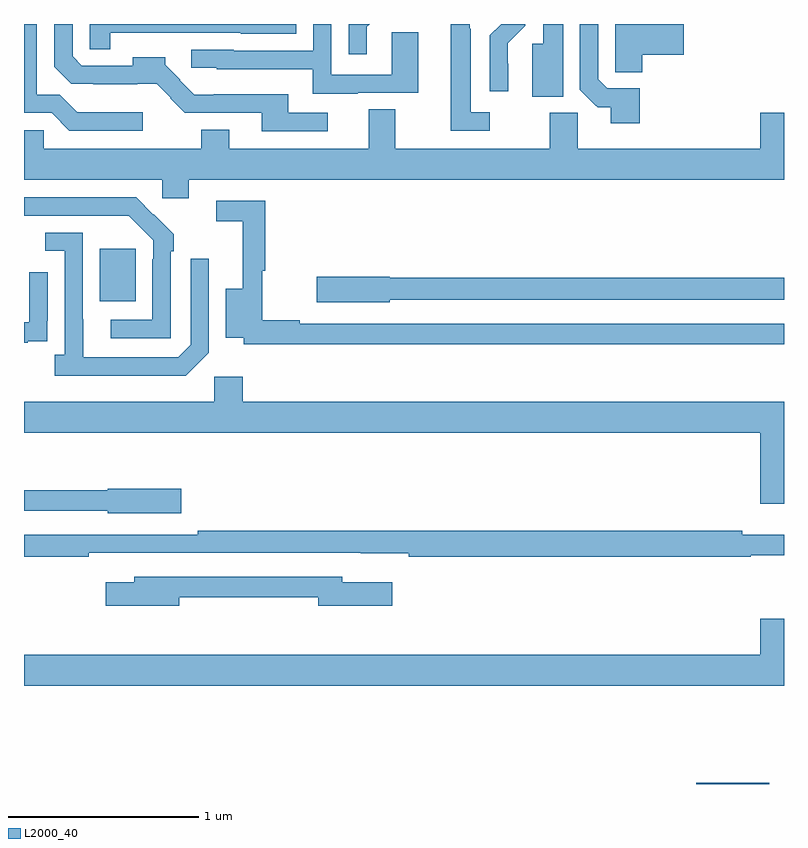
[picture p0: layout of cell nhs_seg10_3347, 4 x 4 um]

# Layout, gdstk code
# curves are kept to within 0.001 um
import gdstk
lib = gdstk.Library(unit=1e-6, precision=1e-09)
def R(c, l, rs):  # rectangles x0, y0, x1, y1
    for r in rs: c.add(gdstk.rectangle(r[:2], r[2:], *l))
def P(c, l, *ps):  # polygons
    for p in ps: c.add(gdstk.Polygon(p, *l))
L2000_40 = (2000, 40)

nhs_seg10_3347 = lib.new_cell('nhs_seg10_3347')
R(nhs_seg10_3347, L2000_40, [(296.538,1266.5,296.922,1266.506), (293.399,1269.041,293.587,1269.316)])
P(nhs_seg10_3347, L2000_40, [(295.837,1270.5),(295.733,1270.5),(295.733,1270.395),(295.676,1270.395),(295.676,1270.117),(295.837,1270.117)],
  [(296.255,1270.337),(296.473,1270.337),(296.473,1270.5),(296.111,1270.5),(296.111,1270.354),(296.112,1270.354),(296.112,1270.246),(296.255,1270.246)],
  [(295.45,1270.035),(295.351,1270.035),(295.351,1270.475),(295.347,1270.475),(295.347,1270.5),(295.247,1270.5),(295.247,1269.939),(295.45,1269.939)],
  [(294.805,1270.485),(294.82,1270.5),(294.708,1270.5),(294.708,1270.341),(294.805,1270.341)],
  [(293.626,1270.036),(293.279,1270.036),(293.188,1270.127),(293.067,1270.127),(293.067,1270.5),(293,1270.5),(293,1270.032),(293.145,1270.032),(293.238,1269.939),(293.626,1269.939)],
  [(294.757,1270.137),(295.075,1270.137),(295.075,1270.457),(294.936,1270.457),(294.936,1270.233),(294.618,1270.233),(294.618,1270.5),(294.522,1270.5),(294.522,1270.359),(294.105,1270.359),(294.105,1270.365),(293.88,1270.365),(293.88,1270.269),(294.015,1270.269),(294.015,1270.262),(294.521,1270.262),(294.521,1270.133),(294.757,1270.133)],
  [(293.455,1270.454),(293.709,1270.454),(293.709,1270.455),(294.141,1270.455),(294.141,1270.448),(294.432,1270.448),(294.432,1270.5),(293.346,1270.5),(293.346,1270.366),(293.455,1270.366)],
  [(294.598,1270.032),(294.391,1270.032),(294.391,1270.129),(293.998,1270.129),(293.998,1270.127),(293.897,1270.127),(293.82,1270.203),(293.823,1270.206),(293.744,1270.285),(293.744,1270.324),(293.573,1270.324),(293.573,1270.281),(293.304,1270.281),(293.256,1270.329),(293.256,1270.5),(293.16,1270.5),(293.16,1270.275),(293.249,1270.186),(293.365,1270.186),(293.365,1270.184),(293.699,1270.185),(293.773,1270.111),(293.771,1270.109),(293.847,1270.032),(294.251,1270.032),(294.251,1269.936),(294.598,1269.936)],
  [(295.548,1270.292),(295.547,1270.292),(295.547,1270.398),(295.638,1270.49),(295.638,1270.5),(295.512,1270.5),(295.452,1270.44),(295.452,1270.146),(295.548,1270.146)],
  [(296.24,1270.161),(296.07,1270.161),(296.022,1270.209),(296.022,1270.5),(295.926,1270.5),(295.926,1270.155),(296.005,1270.076),(296.019,1270.063),(296.087,1270.063),(296.087,1269.978),(296.24,1269.978)],
  [(293.866,1269.68),(297,1269.68),(297,1270.033),(296.876,1270.033),(296.876,1269.844),(295.914,1269.844),(295.914,1270.032),(295.768,1270.032),(295.768,1269.844),(294.955,1269.844),(294.955,1270.052),(294.815,1270.052),(294.815,1269.844),(294.079,1269.844),(294.079,1269.943),(293.932,1269.943),(293.932,1269.844),(293.103,1269.844),(293.103,1269.942),(293,1269.942),(293,1269.68),(293.727,1269.68),(293.727,1269.582),(293.866,1269.582)],
  [(293.772,1269.305),(293.787,1269.305),(293.787,1269.393),(293.59,1269.588),(293,1269.588),(293,1269.492),(293.551,1269.492),(293.679,1269.363),(293.679,1269.263),(293.676,1269.263),(293.676,1268.943),(293.457,1268.943),(293.457,1268.847),(293.772,1268.847)],
  [(297,1268.922),(294.452,1268.922),(294.452,1268.942),(294.254,1268.942),(294.254,1269.202),(294.269,1269.202),(294.269,1269.57),(294.012,1269.57),(294.012,1269.462),(294.152,1269.462),(294.152,1269.106),(294.062,1269.106),(294.062,1268.849),(294.156,1268.849),(294.156,1268.814),(297,1268.814)],
  [(293.973,1268.769),(293.973,1269.265),(293.877,1269.265),(293.877,1268.811),(293.811,1268.745),(293.311,1268.745),(293.31,1269.402),(293.112,1269.402),(293.112,1269.306),(293.214,1269.306),(293.214,1268.758),(293.163,1268.758),(293.163,1268.648),(293.852,1268.648)],
  [(293.021,1268.829),(293.123,1268.829),(293.123,1268.938),(293.124,1268.938),(293.124,1269.193),(293.028,1269.193),(293.028,1268.931),(293,1268.931),(293,1268.823),(293.021,1268.823)],
  [(294.924,1269.048),(297,1269.048),(297,1269.164),(294.924,1269.164),(294.924,1269.17),(294.54,1269.17),(294.54,1269.035),(294.924,1269.035)],
  [(297,1268.512),(294.152,1268.512),(294.152,1268.644),(294,1268.644),(294,1268.512),(293,1268.512),(293,1268.348),(296.876,1268.348),(296.876,1267.974),(297,1267.974)],
  [(293.827,1268.055),(293.442,1268.055),(293.442,1268.047),(293,1268.047),(293,1267.938),(293.442,1267.938),(293.442,1267.925),(293.827,1267.925)],
  [(293.342,1267.716),(294.772,1267.716),(294.772,1267.715),(295.024,1267.715),(295.024,1267.696),(296.824,1267.696),(296.824,1267.704),(297,1267.704),(297,1267.813),(296.78,1267.813),(296.78,1267.832),(293.914,1267.832),(293.914,1267.812),(293,1267.812),(293,1267.696),(293.342,1267.696)],
  [(293.818,1267.482),(294.548,1267.482),(294.548,1267.439),(294.937,1267.439),(294.937,1267.561),(294.676,1267.561),(294.676,1267.59),(293.579,1267.59),(293.579,1267.561),(293.43,1267.561),(293.43,1267.439),(293.818,1267.439)],
  [(297,1267.369),(296.876,1267.369),(296.876,1267.18),(293,1267.18),(293,1267.016),(297,1267.016)])

lib.write_gds('nhs_seg10_3347.gds')
